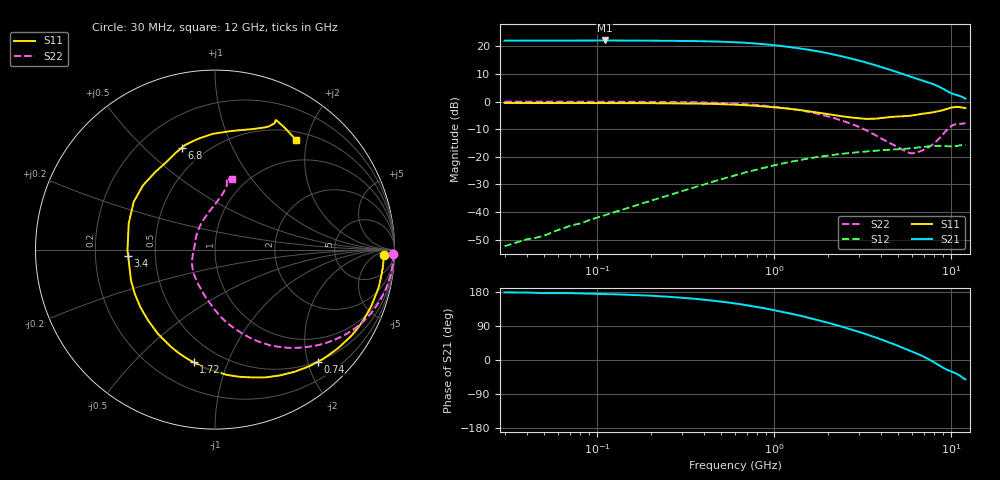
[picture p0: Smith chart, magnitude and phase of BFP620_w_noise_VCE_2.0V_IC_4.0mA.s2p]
! Infineon Technologies  Discrete & RF Semiconductors
! BFP620
! VCE =  2.0 V,  IC =  4.0 mA
! Common Emitter S-Parameters:  Nov 2015
# GHz  S  MA  R  50
!  f  S11  S21  S12  S22
! GHz  MAG  ANG  MAG  ANG  MAG  ANG  MAG  ANG
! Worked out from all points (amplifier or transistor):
!   239 points, 30 MHz to 12 GHz, reference 50 ohm
!   highest |S21| = 22.1 dB at 110 MHz (marker M1)
!   |S21| within 3 dB of that: start of sweep to 1.437 GHz
!   unconditionally stable (mu >= 1): 5.484 GHz to end of sweep
!   at 300 MHz: K = 0.07, MSG = 27.2 dB, |S12| = -32.5 dB
!   at 1.88 GHz: K = 0.44, MSG = 18.8 dB, |S12| = -19.8 dB
!   at 12 GHz: K = 1.27, MAG = 5.3 dB, |S12| = -15.8 dB
!   lowest NFmin = 0.63 dB at 450 MHz
!   S11 on the Smith chart (normalised r, x): 30 MHz: 26, -15; 740 MHz: 0.49, -2.18; 1.72 GHz: 0.36, -0.76; 3.4 GHz: 0.35, -0.03; 6.8 GHz: 0.37, +0.66; 12 GHz: 0.63, +1.81
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0.03  0.9433 -1.9  12.65 178.4  0.0024 78.9  0.9944 -1.3
0.085  0.9401 -5.5  12.71 175.5  0.0066 83.9  0.9943 -3.7
0.11  0.9373 -7.1  12.78 173.9  0.0087 83.5  0.9932 -4.8
0.165  0.9368 -10.7  12.69 171.5  0.0131 82.8  0.9899 -7.2
0.24  0.931 -15.5  12.61 167.5  0.019 80.6  0.9836 -10.5
0.4  0.9143 -26.0  12.4 159.2  0.0314 75.4  0.961 -17.4
0.6  0.8789 -38.7  11.88 149.3  0.0462 68.4  0.9194 -25.7
0.74  0.8476 -47.5  11.41 142.6  0.0553 63.4  0.881 -31.2
0.92  0.8064 -58.2  10.78 134.8  0.0658 57.8  0.8291 -37.6
1.1  0.7659 -68.3  10.13 127.5  0.075 52.5  0.7774 -43.5
1.4  0.702 -84.4  9.17 116.9  0.0875 45.1  0.6935 -52.2
1.64  0.6536 -96.7  8.453 109.1  0.0955 40.0  0.6299 -58.5
1.72  0.6387 -100.8  8.24 106.6  0.098 38.4  0.6099 -60.6
2  0.5935 -114.6  7.518 98.4  0.1052 33.1  0.5405 -67.3
2.42  0.5404 -134.3  6.562 87.5  0.1131 26.5  0.4503 -76.4
2.96  0.5005 -157.9  5.597 74.9  0.1209 19.6  0.3546 -87.7
3.4  0.485 -175.7  4.954 66.0  0.1257 14.7  0.2879 -97.6
4.5  0.5254 149.5  3.764 45.4  0.134 4.3  0.177 -133.2
5.5  0.5453 127.6  3.036 29.4  0.1395 -2.6  0.126 -168.3
6.8  0.5962 108.2  2.422 11.4  0.1496 -11.1  0.1288 143.9
9  0.7016 73.0  1.695 -20.7  0.1576 -29.2  0.2579 89.0
12  0.7591 53.5  1.129 -51.1  0.1627 -45.3  0.4067 76.9
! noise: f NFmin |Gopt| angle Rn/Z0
0.45  0.63  0.47  4  0.17
0.9  0.66  0.43  12  0.17
1.9  0.7  0.3  37  0.17
2.4  0.76  0.26  58  0.14
3.5  0.84  0.14  93  0.13
5.5  1.25  0.14  -174  0.13
10  1.94  0.61  -57  0.84
